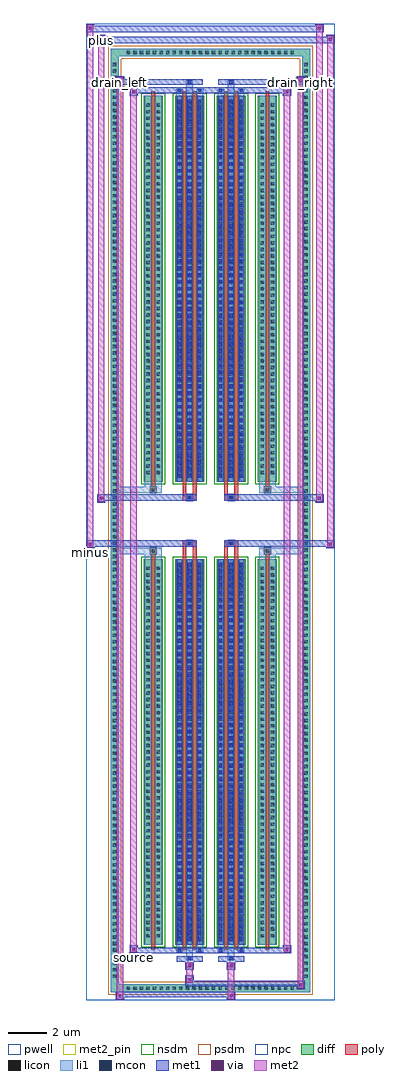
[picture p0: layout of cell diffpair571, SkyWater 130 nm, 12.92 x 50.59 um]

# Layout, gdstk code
import gdstk
lib = gdstk.Library(unit=1e-6, precision=5e-09)
def R(c, l, rs):  # rectangles x0, y0, x1, y1
    for r in rs: c.add(gdstk.rectangle(r[:2], r[2:], *l))
def A(c, l, x, y, w, h, nx, ny, dx, dy):  # array of equal rectangles
    R(c, l, [(x+i*dx, y+j*dy, x+i*dx+w, y+j*dy+h) for i in range(nx) for j in range(ny)])
def P(c, l, *ps):  # polygons
    for p in ps: c.add(gdstk.Polygon(p, *l))
pwell = (64, 44)
diff = (65, 20)
poly = (66, 20)
licon = (66, 44)
li1 = (67, 20)
mcon = (67, 44)
met1 = (68, 20)
via = (68, 44)
met2_pin = (69, 16)
met2 = (69, 20)
nsdm = (93, 44)
psdm = (94, 20)
npc = (95, 20)

diffpair571 = lib.new_cell('diffpair571')
R(diffpair571, pwell, [(-6.44,-24.86,6.44,25.73), (-3.76,-23.05,-0.01,-0.825), (0.01,-23.05,3.76,-0.825), (-3.76,0.825,-0.01,23.05), (0.01,0.825,3.76,23.05)])
A(diffpair571, diff, -4.455, -24.46, 0.41, 0.41, 26, 2, 0.34, 48.51)
A(diffpair571, diff, -5.17, -23.835, 0.41, 0.41, 1, 140, 0, 0.34)
A(diffpair571, diff, 4.76, -23.835, 0.41, 0.41, 1, 140, 0, 0.34)
R(diffpair571, diff, [(-4.455,-24.46,4.455,-24.05), (-5.17,-23.835,-4.76,23.835), (4.76,-23.835,5.17,23.835), (-3.45,-22.005,-2.47,-2.005), (-1.83,-22.005,-0.32,-2.005), (0.32,-22.005,1.83,-2.005), (2.47,-22.005,3.45,-2.005), (-3.45,2.005,-2.47,22.005), (-1.83,2.005,-0.32,22.005), (0.32,2.005,1.83,22.005), (2.47,2.005,3.45,22.005), (-4.455,24.05,4.455,24.46)])
P(diffpair571, diff, [(5.17,24.46),(-5.17,24.46),(-5.17,-24.05),(-4.76,-24.05),(-4.76,24.05),(4.76,24.05),(4.76,-24.05),(-4.76,-24.05),(-5.17,-24.05),(-5.17,-24.46),(5.17,-24.46)])
R(diffpair571, poly, [(-3.06,-22.255,-2.86,-1.755), (-1.44,-22.255,-1.24,-1.755), (-0.91,-22.255,-0.71,-1.755), (0.71,-22.255,0.91,-1.755), (1.24,-22.255,1.44,-1.755), (2.86,-22.255,3.06,-1.755), (-3.125,-1.755,-2.795,-1.425), (-3.125,-1.755,-2.795,-1.425), (-1.44,-1.755,-1.24,-1.355), (-0.91,-1.755,-0.71,-1.355), (0.71,-1.755,0.91,-1.355), (1.24,-1.755,1.44,-1.355), (2.795,-1.755,3.125,-1.425), (2.795,-1.755,3.125,-1.425), (-1.44,-1.355,-0.71,-1.025), (-1.24,-1.355,-0.91,-1.025), (0.71,-1.355,1.44,-1.025), (0.91,-1.355,1.24,-1.025), (-1.44,1.025,-0.71,1.355), (-1.24,1.025,-0.91,1.355), (0.71,1.025,1.44,1.355), (0.91,1.025,1.24,1.355), (-1.44,1.355,-1.24,1.755), (-0.91,1.355,-0.71,1.755), (0.71,1.355,0.91,1.755), (1.24,1.355,1.44,1.755), (-3.125,1.425,-2.795,1.755), (-3.125,1.425,-2.795,1.755), (2.795,1.425,3.125,1.755), (2.795,1.425,3.125,1.755), (-3.06,1.755,-2.86,22.255), (-1.44,1.755,-1.24,22.255), (-0.91,1.755,-0.71,22.255), (0.71,1.755,0.91,22.255), (1.24,1.755,1.44,22.255), (2.86,1.755,3.06,22.255)])
A(diffpair571, licon, -4.335, -24.34, 0.17, 0.17, 26, 2, 0.34, 48.51)
A(diffpair571, licon, -5.05, -23.715, 0.17, 0.17, 1, 140, 0, 0.34)
A(diffpair571, licon, 4.88, -23.715, 0.17, 0.17, 1, 140, 0, 0.34)
A(diffpair571, licon, -3.31, -21.61, 0.17, 0.17, 1, 57, 0, 0.34)
A(diffpair571, licon, -2.78, -21.61, 0.17, 0.17, 1, 57, 0, 0.34)
A(diffpair571, licon, -1.69, -21.61, 0.17, 0.17, 3, 57, 0.53, 0.34)
A(diffpair571, licon, 0.46, -21.61, 0.17, 0.17, 3, 57, 0.53, 0.34)
A(diffpair571, licon, 2.61, -21.61, 0.17, 0.17, 1, 57, 0, 0.34)
A(diffpair571, licon, 3.14, -21.61, 0.17, 0.17, 1, 57, 0, 0.34)
A(diffpair571, licon, -3.31, 2.4, 0.17, 0.17, 1, 57, 0, 0.34)
A(diffpair571, licon, -2.78, 2.4, 0.17, 0.17, 1, 57, 0, 0.34)
A(diffpair571, licon, -1.69, 2.4, 0.17, 0.17, 3, 57, 0.53, 0.34)
A(diffpair571, licon, 0.46, 2.4, 0.17, 0.17, 3, 57, 0.53, 0.34)
A(diffpair571, licon, 2.61, 2.4, 0.17, 0.17, 1, 57, 0, 0.34)
A(diffpair571, licon, 3.14, 2.4, 0.17, 0.17, 1, 57, 0, 0.34)
R(diffpair571, licon, [(-3.045,-1.675,-2.875,-1.505), (2.875,-1.675,3.045,-1.505), (-1.16,-1.275,-0.99,-1.105), (0.99,-1.275,1.16,-1.105), (-1.16,1.105,-0.99,1.275), (0.99,1.105,1.16,1.275), (-3.045,1.505,-2.875,1.675), (2.875,1.505,3.045,1.675)])
A(diffpair571, li1, -4.415, -24.42, 0.33, 0.33, 26, 2, 0.34, 48.51)
A(diffpair571, li1, -5.13, -23.795, 0.33, 0.33, 1, 140, 0, 0.34)
A(diffpair571, li1, 4.8, -23.795, 0.33, 0.33, 1, 140, 0, 0.34)
A(diffpair571, li1, -1.77, -22.005, 0.33, 20, 3, 2, 0.53, 24.01)
A(diffpair571, li1, 0.38, -22.005, 0.33, 20, 3, 2, 0.53, 24.01)
A(diffpair571, li1, -1.69, -21.81, 0.17, 0.17, 3, 55, 0.53, 0.36)
A(diffpair571, li1, -1.69, -21.81, 0.17, 19.61, 3, 2, 0.53, 24.01)
A(diffpair571, li1, 0.46, -21.81, 0.17, 0.17, 3, 55, 0.53, 0.36)
A(diffpair571, li1, 0.46, -21.81, 0.17, 19.61, 3, 2, 0.53, 24.01)
A(diffpair571, li1, -3.39, -21.69, 0.33, 0.33, 1, 57, 0, 0.34)
A(diffpair571, li1, -2.86, -21.69, 0.33, 0.33, 1, 57, 0, 0.34)
A(diffpair571, li1, -1.77, -21.69, 0.33, 0.33, 3, 57, 0.53, 0.34)
A(diffpair571, li1, 0.38, -21.69, 0.33, 0.33, 3, 57, 0.53, 0.34)
A(diffpair571, li1, 2.53, -21.69, 0.33, 0.33, 1, 57, 0, 0.34)
A(diffpair571, li1, 3.06, -21.69, 0.33, 0.33, 1, 57, 0, 0.34)
A(diffpair571, li1, -1.69, 2.2, 0.17, 0.17, 3, 55, 0.53, 0.36)
A(diffpair571, li1, 0.46, 2.2, 0.17, 0.17, 3, 55, 0.53, 0.36)
A(diffpair571, li1, -3.39, 2.32, 0.33, 0.33, 1, 57, 0, 0.34)
A(diffpair571, li1, -2.86, 2.32, 0.33, 0.33, 1, 57, 0, 0.34)
A(diffpair571, li1, -1.77, 2.32, 0.33, 0.33, 3, 57, 0.53, 0.34)
A(diffpair571, li1, 0.38, 2.32, 0.33, 0.33, 3, 57, 0.53, 0.34)
A(diffpair571, li1, 2.53, 2.32, 0.33, 0.33, 1, 57, 0, 0.34)
A(diffpair571, li1, 3.06, 2.32, 0.33, 0.33, 1, 57, 0, 0.34)
R(diffpair571, li1, [(-5.17,-24.46,-4.76,-24.05), (-5.17,-24.46,-4.76,-24.05), (-4.76,-24.46,4.76,-24.05), (4.76,-24.46,5.17,-24.05), (4.76,-24.46,5.17,-24.05), (-5.17,-24.05,-4.76,24.05), (4.76,-24.05,5.17,24.05), (-1.24,-22.81,-0.91,-22.005), (-1.16,-22.81,-0.99,-22.64), (0.91,-22.81,1.24,-22.005), (0.99,-22.81,1.16,-22.64), (-1.77,-22.38,-1.44,-22.005), (-1.69,-22.38,-1.52,-22.21), (-0.71,-22.38,-0.38,-22.005), (-0.63,-22.38,-0.46,-22.21), (0.38,-22.38,0.71,-22.005), (0.46,-22.38,0.63,-22.21), (1.44,-22.38,1.77,-22.005), (1.52,-22.38,1.69,-22.21), (-3.39,-22.005,-3.06,-2.005), (-2.86,-22.005,-2.53,-2.005), (2.53,-22.005,2.86,-2.005), (3.06,-22.005,3.39,-2.005), (-3.39,-2.005,-3.06,-1.425), (-2.86,-2.005,-2.53,-1.425), (2.53,-2.005,2.86,-1.425), (3.06,-2.005,3.39,-1.425), (-5.17,-1.755,-3.125,-1.425), (-3.39,-1.755,-3.125,-1.425), (-3.125,-1.755,-2.795,-1.425), (-2.795,-1.755,-2.53,-1.425), (2.53,-1.755,2.795,-1.425), (2.795,-1.755,3.125,-1.425), (2.795,-1.755,5.17,-1.425), (3.125,-1.755,3.39,-1.425), (-1.24,-1.355,-0.91,-1.025), (0.91,-1.355,1.24,-1.025), (-1.24,1.025,-0.91,1.355), (0.91,1.025,1.24,1.355), (-5.17,1.425,-3.125,1.755), (-3.39,1.425,-3.125,1.755), (-3.39,1.425,-3.06,2.005), (-3.125,1.425,-2.795,1.755), (-2.86,1.425,-2.53,2.005), (-2.795,1.425,-2.53,1.755), (2.53,1.425,2.795,1.755), (2.53,1.425,2.86,2.005), (2.795,1.425,3.125,1.755), (2.795,1.425,5.17,1.755), (3.06,1.425,3.39,2.005), (3.125,1.425,3.39,1.755), (-3.39,2.005,-3.06,22.005), (-2.86,2.005,-2.53,22.005), (2.53,2.005,2.86,22.005), (3.06,2.005,3.39,22.005), (-1.77,22.005,-1.44,22.38), (-1.24,22.005,-0.91,22.81), (-0.71,22.005,-0.38,22.38), (0.38,22.005,0.71,22.38), (0.91,22.005,1.24,22.81), (1.44,22.005,1.77,22.38), (-1.69,22.21,-1.52,22.38), (-0.63,22.21,-0.46,22.38), (0.46,22.21,0.63,22.38), (1.52,22.21,1.69,22.38), (-1.16,22.64,-0.99,22.81), (0.99,22.64,1.16,22.81), (-5.17,24.05,-4.76,24.46), (-5.17,24.05,-4.76,24.46), (-4.76,24.05,4.76,24.46), (4.76,24.05,5.17,24.46), (4.76,24.05,5.17,24.46)])
A(diffpair571, mcon, -1.69, -21.81, 0.17, 0.17, 3, 55, 0.53, 0.36)
A(diffpair571, mcon, 0.46, -21.81, 0.17, 0.17, 3, 55, 0.53, 0.36)
A(diffpair571, mcon, -1.69, 2.2, 0.17, 0.17, 3, 55, 0.53, 0.36)
A(diffpair571, mcon, 0.46, 2.2, 0.17, 0.17, 3, 55, 0.53, 0.36)
R(diffpair571, mcon, [(-1.16,-22.81,-0.99,-22.64), (0.99,-22.81,1.16,-22.64), (-1.69,-22.38,-1.52,-22.21), (-0.63,-22.38,-0.46,-22.21), (0.46,-22.38,0.63,-22.21), (1.52,-22.38,1.69,-22.21), (-1.16,-1.275,-0.99,-1.105), (0.99,-1.275,1.16,-1.105), (-1.16,1.105,-0.99,1.275), (0.99,1.105,1.16,1.275), (-1.69,22.21,-1.52,22.38), (-0.63,22.21,-0.46,22.38), (0.46,22.21,0.63,22.38), (1.52,22.21,1.69,22.38), (-1.16,22.64,-0.99,22.81), (0.99,22.64,1.16,22.81)])
A(diffpair571, met1, -1.75, -22.005, 0.29, 20, 3, 2, 0.53, 24.01)
A(diffpair571, met1, 0.4, -22.005, 0.29, 20, 3, 2, 0.53, 24.01)
A(diffpair571, met1, -1.75, -21.87, 0.29, 0.29, 3, 55, 0.53, 0.36)
A(diffpair571, met1, 0.4, -21.87, 0.29, 0.29, 3, 55, 0.53, 0.36)
A(diffpair571, met1, -1.75, 2.14, 0.29, 0.29, 3, 55, 0.53, 0.36)
A(diffpair571, met1, 0.4, 2.14, 0.29, 0.29, 3, 55, 0.53, 0.36)
R(diffpair571, met1, [(-4.9,-24.86,-4.47,-24.43), (0.86,-24.86,1.29,-24.43), (-4.9,-24.72,1.29,-24.43), (4.47,-24.29,4.9,-23.86), (-1.29,-24.15,4.9,-23.86), (-1.29,-24.01,-0.86,-23.58), (-1.29,-23.3,-0.86,-22.87), (0.86,-23.3,1.29,-22.87), (-1.75,-22.87,-0.4,-22.58), (-1.22,-22.87,-0.93,-22.58), (0.4,-22.87,1.75,-22.58), (0.93,-22.87,1.22,-22.58), (-4.19,-22.44,-3.76,-22.01), (-4.19,-22.44,-1.75,-22.15), (-1.75,-22.44,-1.46,-22.15), (-1.75,-22.44,-0.4,-22.15), (-0.69,-22.44,-0.4,-22.15), (-0.4,-22.44,0.4,-22.15), (0.4,-22.44,0.69,-22.15), (0.4,-22.44,1.75,-22.15), (1.46,-22.44,1.75,-22.15), (1.75,-22.44,4.19,-22.15), (3.76,-22.44,4.19,-22.01), (-6.44,-1.455,-6.01,-1.025), (6.01,-1.455,6.44,-1.025), (-6.44,-1.355,-0.71,-1.025), (-1.44,-1.355,-0.71,-1.025), (0.71,-1.355,1.44,-1.025), (0.71,-1.355,6.44,-1.025), (-1.22,-1.335,-0.93,-1.045), (0.93,-1.335,1.22,-1.045), (-5.87,0.925,-5.44,1.355), (5.44,0.925,5.87,1.355), (-5.87,1.025,-1.44,1.355), (-1.44,1.025,-0.71,1.355), (0.71,1.025,1.44,1.355), (1.44,1.025,5.87,1.355), (-1.22,1.045,-0.93,1.335), (0.93,1.045,1.22,1.335), (-4.19,22.01,-3.76,22.44), (3.76,22.01,4.19,22.44), (-4.19,22.15,-1.75,22.44), (-1.75,22.15,-1.46,22.44), (-1.75,22.15,-0.4,22.44), (-0.69,22.15,-0.4,22.44), (-0.4,22.15,0.4,22.44), (0.4,22.15,0.69,22.44), (0.4,22.15,1.75,22.44), (1.46,22.15,1.75,22.44), (1.75,22.15,4.19,22.44), (-4.9,22.58,-4.47,23.01), (-4.9,22.58,-1.75,22.87), (-1.75,22.58,-0.4,22.87), (-1.22,22.58,-0.93,22.87), (0.4,22.58,1.75,22.87), (0.93,22.58,1.22,22.87), (1.75,22.58,4.9,22.87), (4.47,22.58,4.9,23.01), (-5.87,24.73,-5.44,25.16), (-5.87,24.73,-3.76,25.06), (-3.76,24.73,3.76,25.06), (3.76,24.73,6.44,25.06), (6.01,24.73,6.44,25.16), (-6.44,25.3,-6.01,25.73), (-6.44,25.3,-3.76,25.63), (-3.76,25.3,3.76,25.63), (3.76,25.3,5.87,25.63), (5.44,25.3,5.87,25.73)])
R(diffpair571, via, [(-4.76,-24.72,-4.61,-24.57), (1,-24.72,1.15,-24.57), (4.61,-24.15,4.76,-24), (-1.15,-23.87,-1,-23.72), (-1.15,-23.16,-1,-23.01), (1,-23.16,1.15,-23.01), (-4.05,-22.3,-3.9,-22.15), (3.9,-22.3,4.05,-22.15), (-6.3,-1.315,-6.15,-1.165), (6.15,-1.315,6.3,-1.165), (-5.73,1.065,-5.58,1.215), (5.58,1.065,5.73,1.215), (-4.05,22.15,-3.9,22.3), (3.9,22.15,4.05,22.3), (-4.76,22.72,-4.61,22.87), (4.61,22.72,4.76,22.87), (-5.73,24.87,-5.58,25.02), (6.15,24.87,6.3,25.02), (-6.3,25.44,-6.15,25.59), (5.58,25.44,5.73,25.59)])
R(diffpair571, met2_pin, [(-4.225,-22.89,-3.725,-22.39), (-6.475,-1.905,-5.975,-1.405), (-4.935,22.46,-4.435,22.96), (4.435,22.46,4.935,22.96), (-5.905,24.61,-5.405,25.11)])
R(diffpair571, met2, [(-4.85,-24.81,-4.52,-24.48), (-4.85,-24.81,-4.52,22.96), (0.91,-24.81,1.24,-24.48), (0.91,-24.48,1.24,-23.25), (4.52,-24.24,4.85,-23.91), (4.52,-24.24,4.85,22.96), (-1.24,-23.96,-0.91,-23.63), (-1.24,-23.63,-0.91,-23.25), (-1.24,-23.25,-0.91,-22.92), (0.91,-23.25,1.24,-22.92), (-4.14,-22.39,-3.81,-22.06), (-4.14,-22.39,-3.81,22.39), (3.81,-22.39,4.14,-22.06), (3.81,-22.39,4.14,22.39), (-6.39,-1.405,-6.06,-1.075), (-6.39,-1.405,-6.06,25.68), (6.06,-1.405,6.39,-1.075), (6.06,-1.405,6.39,25.11), (-5.82,0.975,-5.49,1.305), (-5.82,0.975,-5.49,25.11), (5.49,0.975,5.82,1.305), (5.49,0.975,5.82,25.68), (-4.14,22.06,-3.81,22.39), (3.81,22.06,4.14,22.39), (-4.85,22.63,-4.52,22.96), (4.52,22.63,4.85,22.96), (-5.82,24.78,-5.49,25.11), (6.06,24.78,6.39,25.11), (-6.39,25.35,-6.06,25.68), (5.49,25.35,5.82,25.68)])
P(diffpair571, met2, [(6.39,-1.405),(6.39,-1.405),(6.39,-1.075),(6.39,-1.075)],
  [(6.39,24.78),(6.39,24.78),(6.39,25.11),(6.39,25.11)],
  [(-6.06,-1.405),(-6.06,-1.405),(-6.06,-1.075),(-6.06,-1.075)],
  [(-6.06,25.35),(-6.06,25.35),(-6.06,25.68),(-6.06,25.68)],
  [(5.82,0.975),(5.82,0.975),(5.82,1.305),(5.82,1.305)],
  [(5.82,25.35),(5.82,25.35),(5.82,25.68),(5.82,25.68)],
  [(-5.49,0.975),(-5.49,0.975),(-5.49,1.305),(-5.49,1.305)],
  [(-5.49,24.78),(-5.49,24.78),(-5.49,25.11),(-5.49,25.11)],
  [(-4.52,-24.81),(-4.52,-24.81),(-4.52,-24.48),(-4.52,-24.48)],
  [(-4.52,22.63),(-4.52,22.63),(-4.52,22.96),(-4.52,22.96)],
  [(4.85,-24.24),(4.85,-24.24),(4.85,-23.91),(4.85,-23.91)],
  [(4.85,22.63),(4.85,22.63),(4.85,22.96),(4.85,22.96)],
  [(-3.81,-22.39),(-3.81,-22.39),(-3.81,-22.06),(-3.81,-22.06)],
  [(-3.81,22.06),(-3.81,22.06),(-3.81,22.39),(-3.81,22.39)],
  [(4.14,-22.39),(4.14,-22.39),(4.14,-22.06),(4.14,-22.06)],
  [(4.14,22.06),(4.14,22.06),(4.14,22.39),(4.14,22.39)])
R(diffpair571, nsdm, [(-3.58,-22.135,-2.34,-1.875), (-1.96,-22.135,-0.19,-1.875), (0.19,-22.135,1.96,-1.875), (2.34,-22.135,3.58,-1.875), (-3.58,1.875,-2.34,22.135), (-1.96,1.875,-0.19,22.135), (0.19,1.875,1.96,22.135), (2.34,1.875,3.58,22.135)])
P(diffpair571, psdm, [(5.3,24.59),(-5.3,24.59),(-5.3,-23.92),(-4.63,-23.92),(-4.63,23.92),(4.63,23.92),(4.63,-23.92),(-4.63,-23.92),(-5.3,-23.92),(-5.3,-24.59),(5.3,-24.59)])
R(diffpair571, npc, [(-3.145,-1.775,-2.775,-1.405), (2.775,-1.775,3.145,-1.405), (-1.26,-1.375,-0.89,-1.005), (0.89,-1.375,1.26,-1.005), (-1.26,1.005,-0.89,1.375), (0.89,1.005,1.26,1.375), (-3.145,1.405,-2.775,1.775), (2.775,1.405,3.145,1.775)])
diffpair571.add(gdstk.Label('minus', (-6.225,-1.655), layer=69, texttype=5))
diffpair571.add(gdstk.Label('drain_right', (4.685,22.71), layer=69, texttype=5))
diffpair571.add(gdstk.Label('drain_left', (-4.685,22.71), layer=69, texttype=5))
diffpair571.add(gdstk.Label('source', (-3.975,-22.64), layer=69, texttype=5))
diffpair571.add(gdstk.Label('plus', (-5.655,24.86), layer=69, texttype=5))

lib.write_gds('diffpair571.gds')
